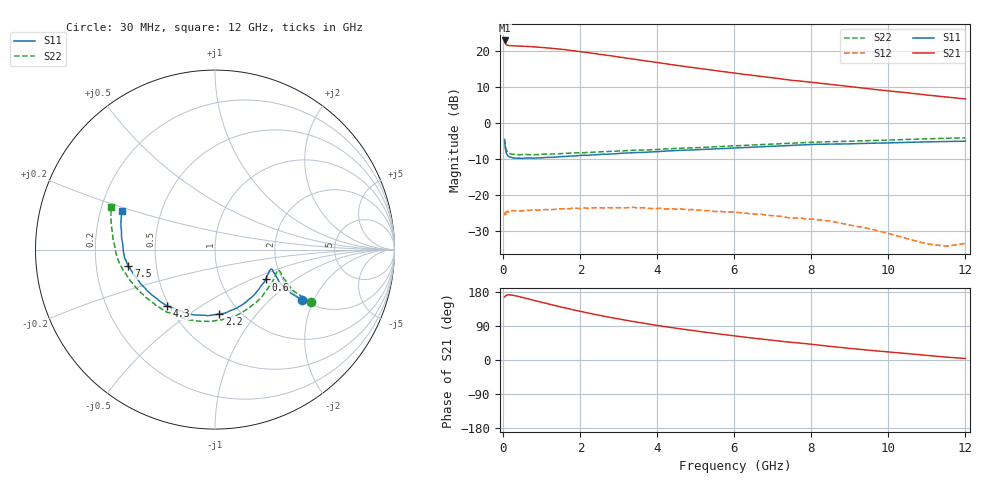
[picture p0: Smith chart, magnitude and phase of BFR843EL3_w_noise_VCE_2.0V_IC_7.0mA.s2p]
! Infineon Technologies  Discrete & RF Semiconductors
! BFR843EL3
! VCE =  2.0 V,  IC =  7.0 mA
! Common Emitter S-Parameters:  Aug 2013
# GHz  S  MA  R  50
!  f  S11  S21  S12  S22
! GHz  MAG  ANG  MAG  ANG  MAG  ANG  MAG  ANG
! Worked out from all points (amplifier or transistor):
!   103 points, 30 MHz to 12 GHz, reference 50 ohm
!   highest |S21| = 22.9 dB at 30 MHz (marker M1)
!   |S21| within 3 dB of that: start of sweep to 1.922 GHz
!   unconditionally stable (mu >= 1): 6.084 GHz to end of sweep
!   at 400 MHz: K = 1.00, MSG = 22.8 dB, |S12| = -24.3 dB
!   at 3.7 GHz: K = 0.82, MSG = 20.4 dB, |S12| = -23.6 dB
!   at 12 GHz: K = 4.44, MAG = 10.6 dB, |S12| = -33.4 dB
!   lowest NFmin = 0.87 dB at 450 MHz
!   S11 on the Smith chart (normalised r, x): 30 MHz: 2.00, -1.64; 600 MHz: 1.65, -0.61; 2.2 GHz: 0.81, -0.66; 4.3 GHz: 0.49, -0.37; 7.5 GHz: 0.34, -0.08; 12 GHz: 0.29, +0.18
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0.03  0.561 -30.0  13.96 166.3  0.053 32.5  0.6084 -28.7
0.04  0.4889 -29.9  13.24 167.3  0.0539 25.3  0.5317 -28.2
0.06  0.4118 -27.6  12.48 169.4  0.0526 19.6  0.4549 -25.7
0.1  0.3612 -22.3  12.03 171.5  0.0597 11.6  0.4009 -21.0
0.15  0.3414 -19.6  11.86 172.0  0.0612 6.4  0.3814 -18.6
0.35  0.3248 -21.8  11.69 168.6  0.0613 5.0  0.3651 -20.9
0.6  0.3282 -30.4  11.54 162.4  0.0619 2.6  0.3675 -29.3
1  0.3306 -45.4  11.16 152.1  0.0629 2.0  0.3704 -44.5
1.4  0.3401 -60.1  10.66 142.2  0.0643 1.0  0.3749 -58.8
1.7  0.3483 -70.4  10.24 135.1  0.0648 0.4  0.3832 -69.2
2.1  0.3589 -82.7  9.611 126.1  0.0668 -0.2  0.3889 -81.8
2.2  0.3576 -86.2  9.464 123.9  0.066 -1.4  0.3936 -84.5
2.8  0.3733 -101.5  8.543 111.9  0.0668 -4.3  0.4061 -100.0
3.3  0.3867 -112.8  7.808 102.7  0.0677 -7.1  0.4179 -111.3
4.1  0.4053 -127.2  6.783 89.6  0.0658 -11.8  0.4333 -125.7
4.3  0.4123 -130.5  6.532 86.5  0.0649 -11.6  0.4403 -129.1
5.1  0.429 -142.7  5.711 75.2  0.0623 -15.2  0.4586 -141.2
6.1  0.4542 -154.8  4.853 62.5  0.0577 -19.4  0.4867 -153.6
7.5  0.4908 -169.3  3.911 46.6  0.0485 -22.8  0.5269 -168.5
8.5  0.5114 -179.5  3.439 35.8  0.0438 -27.0  0.5531 -178.2
10.5  0.5409 165.8  2.626 16.9  0.0249 -17.2  0.5937 166.7
12  0.5614 157.7  2.158 4.1  0.0215 26.2  0.6238 157.8
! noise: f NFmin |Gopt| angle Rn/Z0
0.45  0.87  0.11  24  0.12
0.9  0.89  0.12  40  0.13
1.5  0.92  0.13  53  0.13
1.9  0.93  0.13  59  0.13
2.4  0.95  0.14  71  0.12
3.5  0.99  0.15  90  0.12
5.5  1.06  0.2  127  0.11
8  1.14  0.29  166  0.08
10  1.21  0.41  208  0.05
